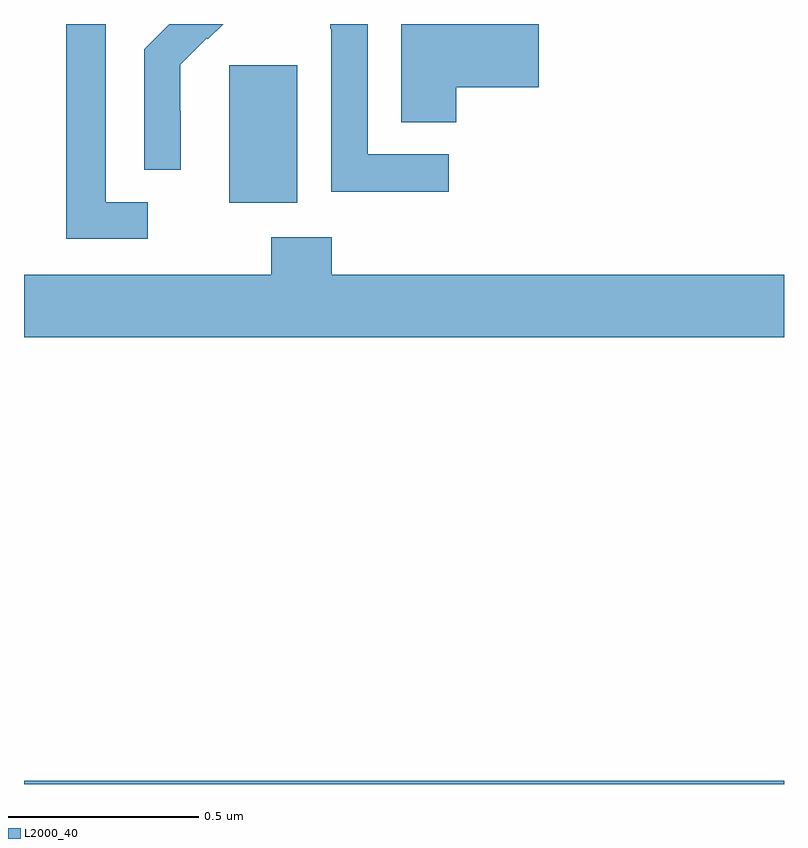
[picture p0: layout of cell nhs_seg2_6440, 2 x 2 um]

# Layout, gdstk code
import gdstk
lib = gdstk.Library(unit=1e-6, precision=1e-09)
def R(c, l, rs):  # rectangles x0, y0, x1, y1
    for r in rs: c.add(gdstk.rectangle(r[:2], r[2:], *l))
def P(c, l, *ps):  # polygons
    for p in ps: c.add(gdstk.Polygon(p, *l))
L2000_40 = (2000, 40)

nhs_seg2_6440 = lib.new_cell('nhs_seg2_6440')
R(nhs_seg2_6440, L2000_40, [(191,639.8,193,639.808), (191.54,641.33,191.719,641.691)])
P(nhs_seg2_6440, L2000_40, [(192.137,641.633),(192.355,641.633),(192.355,641.8),(191.993,641.8),(191.993,641.542),(192.137,641.542)],
  [(191.412,641.57),(191.411,641.57),(191.411,641.693),(191.481,641.763),(191.484,641.76),(191.524,641.8),(191.382,641.8),(191.316,641.734),(191.316,641.416),(191.412,641.416)],
  [(192.118,641.457),(191.904,641.457),(191.904,641.8),(191.806,641.8),(191.806,641.788),(191.808,641.788),(191.808,641.359),(192.118,641.359)],
  [(191.326,641.331),(191.215,641.331),(191.215,641.8),(191.111,641.8),(191.111,641.235),(191.326,641.235)],
  [(193,641.14),(191.81,641.14),(191.81,641.239),(191.65,641.239),(191.65,641.14),(191,641.14),(191,640.976),(193,640.976)])

lib.write_gds('nhs_seg2_6440.gds')
